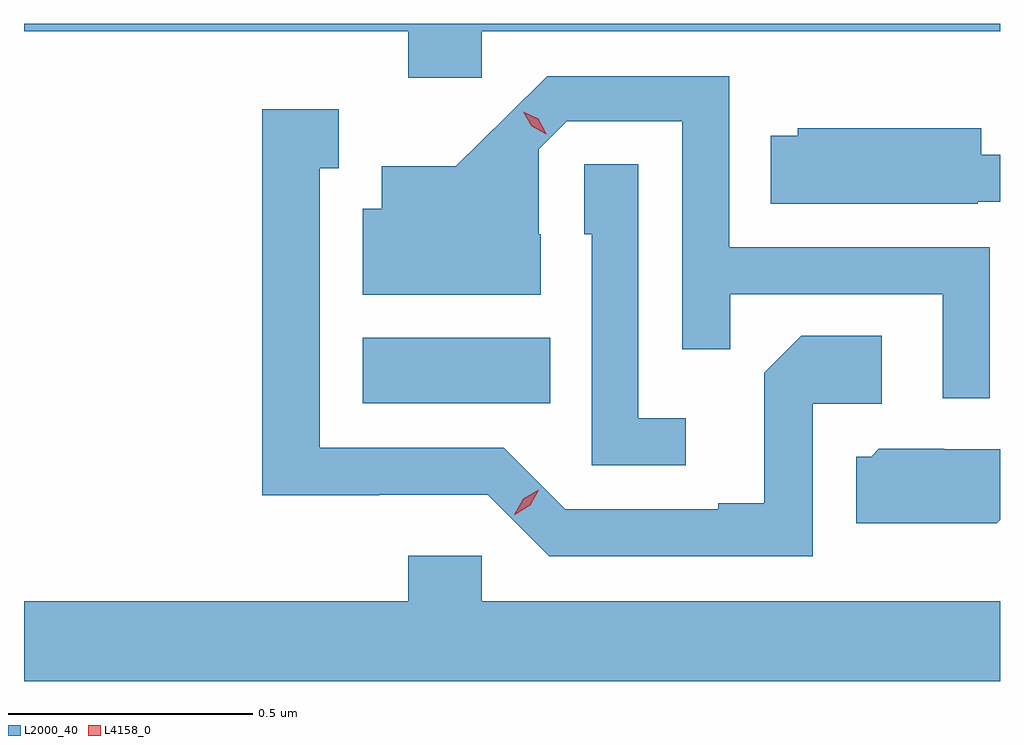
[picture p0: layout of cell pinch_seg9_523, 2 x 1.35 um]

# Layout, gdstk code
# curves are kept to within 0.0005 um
import gdstk
lib = gdstk.Library(unit=1e-6, precision=1e-09)
def R(c, l, rs):  # rectangles x0, y0, x1, y1
    for r in rs: c.add(gdstk.rectangle(r[:2], r[2:], *l))
def P(c, l, *ps):  # polygons
    for p in ps: c.add(gdstk.Polygon(p, *l))
L2000_40 = (2000, 40)
L4158_0 = (4158, 0)

pinch_seg9_523 = lib.new_cell('pinch_seg9_523')
R(pinch_seg9_523, L2000_40, [(281.894,1200.986,282.278,1201.12)])
P(pinch_seg9_523, L2000_40, [(282.138,1201.748),(283.2,1201.748),(283.2,1201.763),(281.2,1201.763),(281.2,1201.748),(281.987,1201.748),(281.987,1201.653),(282.138,1201.653)],
  [(283.179,1201.305),(282.645,1201.305),(282.645,1201.656),(282.272,1201.656),(282.085,1201.471),(281.933,1201.471),(281.933,1201.384),(281.894,1201.384),(281.894,1201.208),(282.259,1201.208),(282.259,1201.332),(282.255,1201.332),(282.255,1201.506),(282.312,1201.563),(282.549,1201.563),(282.549,1201.096),(282.647,1201.096),(282.647,1201.209),(283.083,1201.209),(283.083,1200.996),(283.179,1200.996)],
  [(282.816,1200.984),(282.958,1200.984),(282.958,1201.124),(282.793,1201.124),(282.717,1201.048),(282.717,1200.781),(282.623,1200.781),(282.623,1200.768),(282.309,1200.768),(282.183,1200.894),(281.806,1200.894),(281.806,1201.467),(281.845,1201.467),(281.845,1201.588),(281.688,1201.588),(281.688,1200.797),(281.928,1200.797),(281.928,1200.798),(282.15,1200.798),(282.276,1200.672),(282.816,1200.672)],
  [(283.154,1201.398),(283.2,1201.398),(283.2,1201.495),(283.162,1201.495),(283.162,1201.549),(282.786,1201.549),(282.786,1201.534),(282.73,1201.534),(282.73,1201.394),(283.154,1201.394)],
  [(282.556,1200.955),(282.459,1200.955),(282.459,1201.475),(282.348,1201.475),(282.348,1201.332),(282.363,1201.332),(282.363,1200.858),(282.556,1200.858)],
  [(283.2,1200.747),(283.2,1200.891),(283.086,1200.891),(283.086,1200.892),(282.952,1200.892),(282.936,1200.876),(282.905,1200.876),(282.905,1200.74),(283.193,1200.74)],
  [(283.2,1200.58),(282.138,1200.58),(282.138,1200.673),(281.987,1200.673),(281.987,1200.58),(281.2,1200.58),(281.2,1200.416),(283.2,1200.416)])
P(pinch_seg9_523, L4158_0, [(282.27,1201.537),(282.24,1201.553),(282.223,1201.583),(282.223,1201.583),(282.223,1201.583),(282.254,1201.568),(282.27,1201.538),(282.27,1201.537)],
  [(282.205,1200.757),(282.205,1200.757),(282.223,1200.79),(282.255,1200.808),(282.255,1200.808),(282.255,1200.808),(282.237,1200.776),(282.206,1200.757)])

lib.write_gds('pinch_seg9_523.gds')
